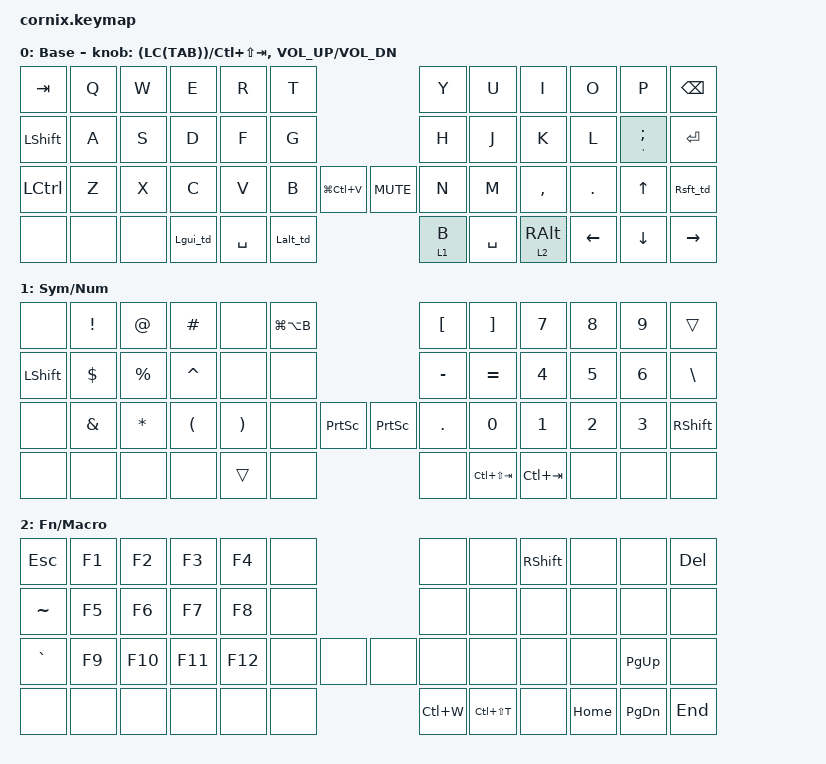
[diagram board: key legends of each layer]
/*
 * Cornix LP keymap adapted from the user's BLE configuration.
 * Bluetooth profile controls and BLE-only helper dependencies are omitted
 * for the ESB-only build.
 *
 * SPDX-License-Identifier: MIT
 */

#define HM_TAPPING_TERM 250
#define ZMK_POINTING_DEFAULT_SCRL_VAL 15

#include <behaviors.dtsi>
#include <dt-bindings/zmk/keys.h>

/ {
    behaviors {
        lt: layer_tap {
            compatible = "zmk,behavior-hold-tap";
            #binding-cells = <2>;
            bindings = <&mo>, <&kp>;

            flavor = "balanced";
            tapping-term-ms = <150>;
        };

        ht: hold_tap {
            compatible = "zmk,behavior-hold-tap";
            bindings = <&kp>, <&kp>;

            #binding-cells = <2>;
            tapping-term-ms = <150>;
            flavor = "balanced";
        };

        Rsft_td: Rsft_td {
            compatible = "zmk,behavior-tap-dance";
            label = "Rsft_td";
            #binding-cells = <0>;
            tapping-term-ms = <150>;
            bindings = <&ht RSHIFT SLASH>, <&kp QMARK>;
        };

        Lalt_td: Lalt_td {
            compatible = "zmk,behavior-tap-dance";
            label = "LALT_TD";
            #binding-cells = <0>;
            bindings = <&kp LALT>, <&kp LGUI>;

            tapping-term-ms = <150>;
        };

        Lgui_td: Lgui_td {
            compatible = "zmk,behavior-tap-dance";
            label = "LGUI_TD";
            #binding-cells = <0>;
            bindings = <&lt 1 ESC>, <&mo 2>;

            tapping-term-ms = <150>;
        };
    };

    conditional_layers { compatible = "zmk,conditional-layers"; };

    combos {
        compatible = "zmk,combos";

        sys_reset {
            bindings = <&sys_reset>;
            key-positions = <31 30>;
            require-prior-idle-ms = <500>;
            timeout-ms = <200>;
            layers = <2>;
        };
    };

    keymap {
        compatible = "zmk,keymap";

        default_layer {
            display-name = "Base";
            bindings = <
&kp TAB     &kp Q  &kp W  &kp E     &kp R      &kp T                                &kp Y    &kp U      &kp I       &kp O     &kp P               &kp BACKSPACE
&kp LSHIFT  &kp A  &kp S  &kp D     &kp F      &kp G                                &kp H    &kp J      &kp K       &kp L     &ht APOS SEMICOLON  &kp ENTER
&kp LCTRL   &kp Z  &kp X  &kp C     &kp V      &kp B     &kp LG(LC(V))  &kp C_MUTE  &kp N    &kp M      &kp COMMA   &kp DOT   &kp UP              &Rsft_td
&none       &none  &none  &Lgui_td  &kp SPACE  &Lalt_td                             &lt 1 B  &kp SPACE  &lt 2 RALT  &kp LEFT  &kp DOWN            &kp RIGHT
            >;

            sensor-bindings =
                <&inc_dec_kp (LC(TAB)) LC(LS(TAB))>,
                <&inc_dec_kp C_VOL_UP C_VOL_DN>;
        };

        sym_num_layer {
            bindings = <
&none       &kp EXCLAMATION  &kp AT_SIGN   &kp POUND             &none                  &kp LG(LA(B))                              &kp LEFT_BRACKET  &kp RIGHT_BRACKET  &kp N7       &kp N8  &kp N9  &trans
&kp LSHIFT  &kp DOLLAR       &kp PERCENT   &kp CARET             &none                  &none                                      &kp MINUS         &kp EQUAL          &kp N4       &kp N5  &kp N6  &kp BACKSLASH
&none       &kp AMPERSAND    &kp ASTERISK  &kp LEFT_PARENTHESIS  &kp RIGHT_PARENTHESIS  &none          &kp PSCRN  &kp PRINTSCREEN  &kp DOT           &kp N0             &kp N1       &kp N2  &kp N3  &kp RSHFT
&none       &none            &none         &none                 &trans                 &none                                      &none             &kp LC(LS(TAB))    &kp LC(TAB)  &none   &none   &none
            >;

            label = "Sym/Num";
        };

        fn_macro_layer {
            bindings = <
&kp ESC    &kp F1  &kp F2   &kp F3   &kp F4   &none                &none      &none          &kp RSHIFT  &none     &none      &kp DEL
&kp TILDE  &kp F5  &kp F6   &kp F7   &kp F8   &none                &none      &none          &none       &none     &none      &none
&kp GRAVE  &kp F9  &kp F10  &kp F11  &kp F12  &none  &none  &none  &none      &none          &none       &none     &kp PG_UP  &none
&none      &none   &none    &none    &none    &none                &kp LC(W)  &kp LC(LS(T))  &none       &kp HOME  &kp PG_DN  &kp END
            >;

            label = "Fn/Macro";
        };
    };
};
